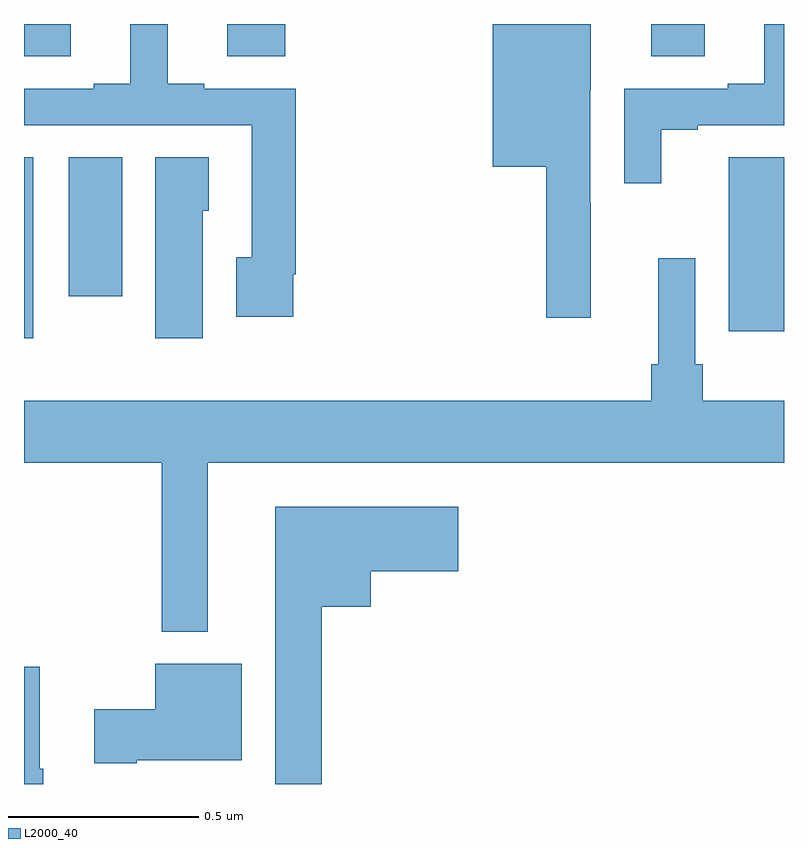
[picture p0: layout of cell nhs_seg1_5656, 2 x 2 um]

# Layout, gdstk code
import gdstk
lib = gdstk.Library(unit=1e-6, precision=1e-09)
def R(c, l, rs):  # rectangles x0, y0, x1, y1
    for r in rs: c.add(gdstk.rectangle(r[:2], r[2:], *l))
def P(c, l, *ps):  # polygons
    for p in ps: c.add(gdstk.Polygon(p, *l))
L2000_40 = (2000, 40)

nhs_seg1_5656 = lib.new_cell('nhs_seg1_5656')
R(nhs_seg1_5656, L2000_40, [(181,573.372,181.024,573.848), (182.855,573.39,183,573.848), (181.118,573.483,181.258,573.848), (181,574.114,181.123,574.199), (181.535,574.114,181.688,574.199), (182.651,574.114,182.791,574.199)])
P(nhs_seg1_5656, L2000_40, [(181.708,573.541),(181.715,573.541),(181.715,574.029),(181.474,574.029),(181.474,574.042),(181.378,574.042),(181.378,574.199),(181.28,574.199),(181.28,574.042),(181.184,574.042),(181.184,574.029),(181,574.029),(181,573.933),(181.599,573.933),(181.599,573.585),(181.559,573.585),(181.559,573.429),(181.708,573.429)],
  [(182.677,573.921),(182.773,573.921),(182.773,573.933),(183,573.933),(183,574.199),(182.948,574.199),(182.948,574.042),(182.852,574.042),(182.852,574.029),(182.58,574.029),(182.58,573.78),(182.677,573.78)],
  [(182.492,573.728),(182.49,573.728),(182.49,574.026),(182.491,574.026),(182.491,574.199),(182.234,574.199),(182.234,573.824),(182.374,573.824),(182.374,573.426),(182.492,573.426)],
  [(181.471,573.708),(181.486,573.708),(181.486,573.848),(181.346,573.848),(181.346,573.372),(181.471,573.372)],
  [(181.483,573.044),(183,573.044),(183,573.208),(182.786,573.208),(182.786,573.304),(182.766,573.304),(182.766,573.583),(182.669,573.583),(182.669,573.304),(182.65,573.304),(182.65,573.208),(181,573.208),(181,573.044),(181.362,573.044),(181.362,572.6),(181.483,572.6)],
  [(181.783,572.666),(181.912,572.666),(181.912,572.759),(182.143,572.759),(182.143,572.929),(181.661,572.929),(181.661,572.199),(181.783,572.199)],
  [(181.297,572.261),(181.573,572.261),(181.573,572.515),(181.346,572.515),(181.346,572.396),(181.185,572.396),(181.185,572.254),(181.297,572.254)],
  [(181.05,572.239),(181.042,572.239),(181.042,572.508),(181,572.508),(181,572.199),(181.05,572.199)])

lib.write_gds('nhs_seg1_5656.gds')
